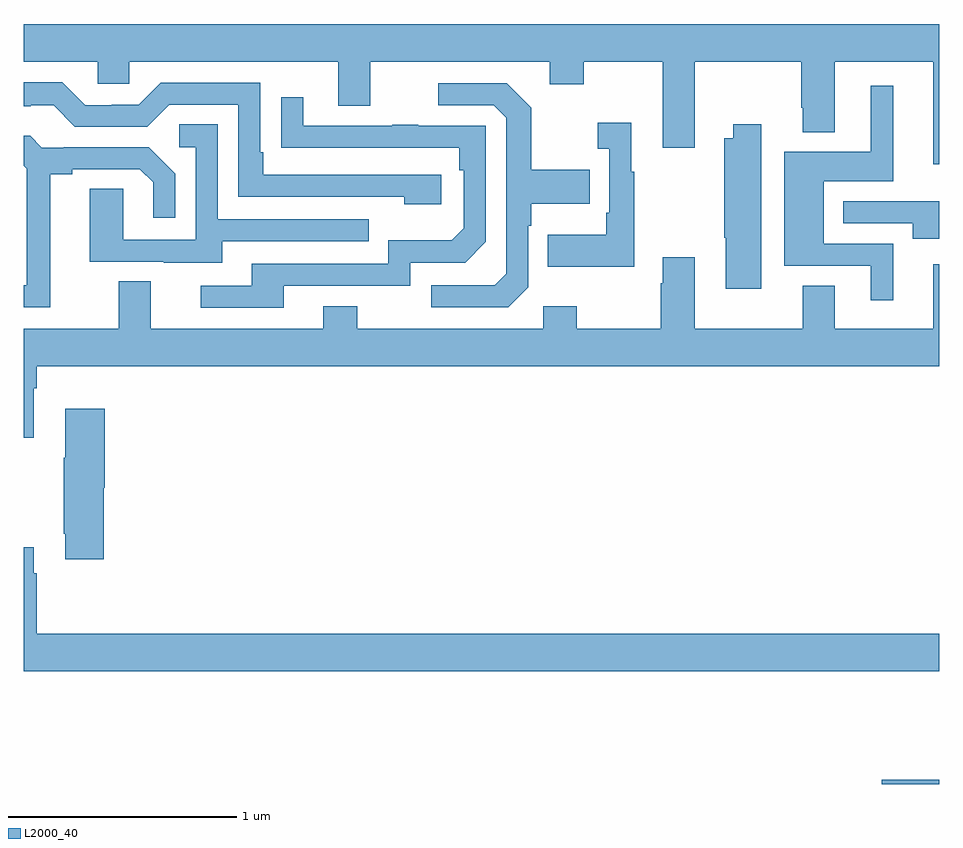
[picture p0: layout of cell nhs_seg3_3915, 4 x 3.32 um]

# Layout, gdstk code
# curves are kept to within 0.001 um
import gdstk
lib = gdstk.Library(unit=1e-6, precision=1e-09)
def R(c, l, rs):  # rectangles x0, y0, x1, y1
    for r in rs: c.add(gdstk.rectangle(r[:2], r[2:], *l))
def P(c, l, *ps):  # polygons
    for p in ps: c.add(gdstk.Polygon(p, *l))
L2000_40 = (2000, 40)

nhs_seg3_3915 = lib.new_cell('nhs_seg3_3915')
R(nhs_seg3_3915, L2000_40, [(316.748,724.4,317,724.419)])
P(nhs_seg3_3915, L2000_40, [(317,727.72),(313,727.72),(313,727.556),(313.323,727.556),(313.323,727.458),(313.461,727.458),(313.461,727.556),(314.375,727.556),(314.375,727.362),(314.515,727.362),(314.515,727.556),(315.299,727.556),(315.299,727.457),(315.447,727.457),(315.447,727.556),(315.791,727.556),(315.791,727.179),(315.931,727.179),(315.931,727.556),(316.396,727.556),(316.396,727.354),(316.403,727.354),(316.403,727.247),(316.543,727.247),(316.543,727.556),(316.973,727.556),(316.973,727.107),(317,727.107)],
  [(314.824,727.062),(314.047,727.062),(314.047,727.159),(314.034,727.159),(314.034,727.464),(313.599,727.464),(313.503,727.368),(313.385,727.368),(313.385,727.365),(313.269,727.365),(313.169,727.465),(313,727.465),(313,727.361),(313.031,727.361),(313.031,727.365),(313.131,727.365),(313.224,727.272),(313.539,727.272),(313.635,727.368),(313.938,727.368),(313.938,726.966),(314.663,726.966),(314.663,726.932),(314.824,726.932)],
  [(315.204,726.57),(315.204,726.839),(315.217,726.839),(315.217,726.935),(315.473,726.935),(315.473,727.083),(315.217,727.083),(315.217,727.355),(315.111,727.461),(314.811,727.461),(314.811,727.365),(315.054,727.365),(315.108,727.311),(315.108,726.63),(315.057,726.579),(314.781,726.579),(314.781,726.483),(315.117,726.483)],
  [(316.798,726.759),(316.495,726.759),(316.495,727.034),(316.798,727.034),(316.798,727.45),(316.7,727.45),(316.7,727.162),(316.322,727.162),(316.322,726.663),(316.7,726.663),(316.7,726.513),(316.798,726.513)],
  [(314.137,726.576),(314.688,726.576),(314.688,726.678),(314.928,726.678),(315.018,726.768),(315.018,727.275),(314.723,727.275),(314.723,727.28),(314.611,727.28),(314.611,727.275),(314.221,727.275),(314.221,727.399),(314.125,727.399),(314.125,727.18),(314.902,727.179),(314.902,727.082),(314.922,727.082),(314.922,726.828),(314.869,726.775),(314.592,726.775),(314.592,726.672),(313.997,726.672),(313.997,726.576),(313.773,726.576),(313.773,726.48),(314.137,726.48)],
  [(315.667,727.075),(315.655,727.075),(315.655,727.288),(315.507,727.288),(315.507,727.175),(315.558,727.175),(315.558,726.895),(315.546,726.895),(315.546,726.799),(315.289,726.799),(315.289,726.659),(315.667,726.659)],
  [(313.867,726.771),(314.507,726.771),(314.507,726.867),(313.848,726.867),(313.848,727.283),(313.68,727.283),(313.68,727.182),(313.752,727.182),(313.752,726.777),(313.434,726.777),(313.434,727.001),(313.289,727.001),(313.289,726.681),(313.613,726.681),(313.613,726.677),(313.867,726.677)],
  [(316.222,727.282),(316.1,727.282),(316.1,727.222),(316.06,727.222),(316.06,726.787),(316.067,726.787),(316.067,726.564),(316.222,726.564)],
  [(313.117,727.064),(313.213,727.064),(313.213,727.086),(313.508,727.086),(313.565,727.029),(313.565,726.873),(313.662,726.873),(313.662,727.066),(313.546,727.182),(313.174,727.182),(313.174,727.179),(313.08,727.179),(313.028,727.231),(313,727.231),(313,727.1),(313.013,727.087),(313.013,726.579),(313,726.579),(313,726.483),(313.117,726.483)],
  [(317,726.946),(316.887,726.946),(316.887,726.945),(316.58,726.945),(316.58,726.849),(316.883,726.849),(316.883,726.782),(317,726.782)],
  [(317,726.67),(316.973,726.67),(316.973,726.388),(316.543,726.388),(316.543,726.577),(316.403,726.577),(316.403,726.388),(315.931,726.388),(315.931,726.7),(315.791,726.7),(315.791,726.587),(315.784,726.587),(315.784,726.388),(315.417,726.388),(315.417,726.487),(315.27,726.487),(315.27,726.388),(314.457,726.388),(314.457,726.487),(314.309,726.487),(314.309,726.388),(313.555,726.388),(313.555,726.596),(313.415,726.596),(313.415,726.388),(313,726.388),(313,725.913),(313.045,725.913),(313.045,726.128),(313.058,726.128),(313.058,726.224),(317,726.224)],
  [(313.349,725.694),(313.354,725.694),(313.354,726.04),(313.181,726.04),(313.181,725.825),(313.174,725.825),(313.174,725.494),(313.181,725.494),(313.181,725.382),(313.349,725.382)],
  [(317,725.056),(313.058,725.056),(313.058,725.321),(313.045,725.321),(313.045,725.434),(313,725.434),(313,724.892),(317,724.892)])

lib.write_gds('nhs_seg3_3915.gds')
